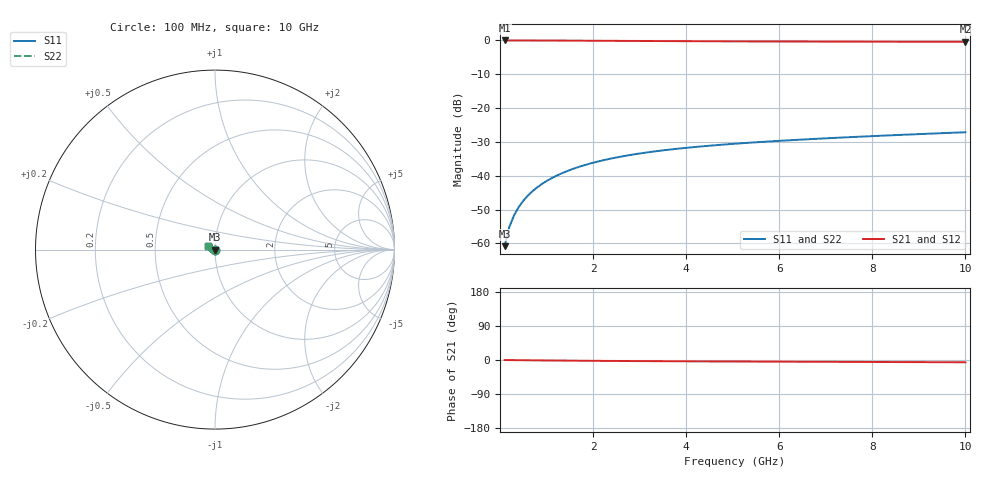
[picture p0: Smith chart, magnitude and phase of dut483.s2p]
! Touchstone file exported from HFSS 2024.1.0
!  File:  C:/UserFiles/LocalFiles/RDL_TSV_Batchsim/temp_TSV1_483_1779699771.aedt
!  Generated:  05:10:01 PM May 25, 2026
!  Design:  TSV1
!  Project:  temp_TSV1_483_1779699771
!  Setup:  Setup1
!  Solution:  Sweep
! Variables:
!  dtsv = 6.76um
!  hbump = 3um
!  htsv = 92.89um
!  lrdl = 252.1521522um
!  p = 40
!  p1 = 48.66um
!  t = 500um
!  trdl = 3um
!  wrdl = 24.89489489um
# GHz S MA R 50.000000
! Terminal data exported
! Port[1] = TSV22_T1
! Port[2] = TSV22_T2
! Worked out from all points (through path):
!   100 points, 100 MHz to 10 GHz, reference 50 ohm
!   highest |S21| = 0.00 dB at 100 MHz (marker M1); lowest = -0.4 dB at 10 GHz (marker M2)
!   lowest |S11| = -60.8 dB at 100 MHz (marker M3), VSWR 1.00, Z = 50 - j0.0857 ohm
!   |S11| at or under -10 dB: start of sweep to end of sweep
!   |S22| runs from -60.8 to -27.1 dB; largest |S21 - S12| = 8.4e-15
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0.1  0.0009126 -69.8  0.9996 -0.1  0.9996 -0.1  0.0009126 -69.8
! Gamma 0 0 0 0
! Port Impedance 50 0 50 0
0.2  0.001741 -82.4  0.9995 -0.2  0.9995 -0.2  0.001741 -82.4
0.3  0.002584 -88.2  0.9994 -0.4  0.9994 -0.4  0.002584 -88.2
0.4  0.003428 -92.1  0.9991 -0.5  0.9991 -0.5  0.003428 -92.1
0.5  0.004268 -95.2  0.9989 -0.6  0.9989 -0.6  0.004268 -95.2
0.6  0.005103 -97.9  0.9986 -0.7  0.9986 -0.7  0.005103 -97.9
0.7  0.00593 -100.4  0.9982 -0.8  0.9982 -0.8  0.00593 -100.4
0.8  0.006748 -102.8  0.9978 -0.9  0.9978 -0.9  0.006748 -102.8
0.9  0.007556 -105.0  0.9973 -1.1  0.9973 -1.1  0.007556 -105.0
1.1  0.009139 -109.3  0.9962 -1.3  0.9962 -1.3  0.009139 -109.3
1.4  0.01142 -115.3  0.9943 -1.6  0.9943 -1.6  0.01142 -115.3
1.6  0.01287 -119.1  0.9929 -1.8  0.9929 -1.8  0.01287 -119.1
1.8  0.01426 -122.7  0.9915 -2.0  0.9915 -2.0  0.01426 -122.7
2.1  0.01623 -128.0  0.9892 -2.2  0.9892 -2.2  0.01623 -128.0
2.5  0.01864 -134.5  0.986 -2.5  0.986 -2.5  0.01864 -134.5
2.9  0.02083 -140.7  0.9829 -2.8  0.9829 -2.8  0.02083 -140.7
3.4  0.02329 -147.7  0.9792 -3.1  0.9792 -3.1  0.02329 -147.7
4.2  0.02669 -157.8  0.974 -3.6  0.974 -3.6  0.02669 -157.8
5.1  0.02995 -167.6  0.9691 -4.0  0.9691 -4.0  0.02995 -167.6
6.7  0.03492 177.9  0.9626 -4.7  0.9626 -4.7  0.03492 177.9
8.4  0.03968 165.7  0.958 -5.4  0.958 -5.4  0.03968 165.7
10  0.04401 156.3  0.9549 -6.0  0.9549 -6.0  0.044 156.3
